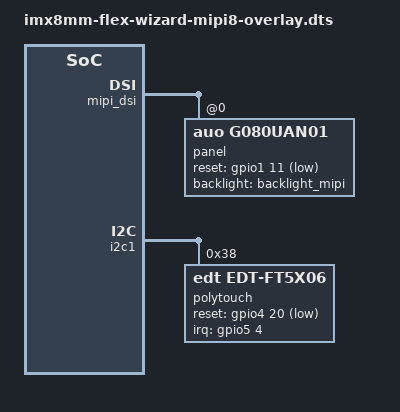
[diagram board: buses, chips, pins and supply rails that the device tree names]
/dts-v1/;
/plugin/;

#include <dt-bindings/interrupt-controller/irq.h>
#include <dt-bindings/gpio/gpio.h>

/ {
	fragment@0 {
		target-path = "/";
		__overlay__ {
			backlight_mipi: backlight_mipi {
				status = "okay";
			};
		};
	};

	fragment@1 {
		target = <&mipi_dsi>;
		__overlay__ {
			#address-cells = <1>;
			#size-cells = <0>;
			status = "okay";
			panel@0 {
				compatible = "auo,g080uan01";
				reg = <0>;
				pinctrl-0 = <&pinctrl_mipi_dsi_rst>;
				reset-gpio = <&gpio1 11 GPIO_ACTIVE_LOW>;
				backlight = <&backlight_mipi>;
				status = "okay";
			};
		};
	};

	fragment@2 {
		target = <&i2c1>;
		__overlay__ {
			#address-cells = <1>;
			#size-cells = <0>;
			status = "okay";
			polytouch: edt-ft5x06@38 {
				compatible = "edt,edt-ft5x06";
				reg = <0x38>;
				pinctrl-names = "default";
				pinctrl-0 = <&pinctrl_touch_irq &pinctrl_touch_rst>;
				interrupt-parent = <&gpio5>;
				interrupts = <4 IRQ_TYPE_EDGE_FALLING>;
				reset-gpios = <&gpio4 20 GPIO_ACTIVE_LOW>;
				touchscreen-size-x = <1200>;
				touchscreen-size-y = <1920>;
				status = "okay";
			};
		};
	};
};
